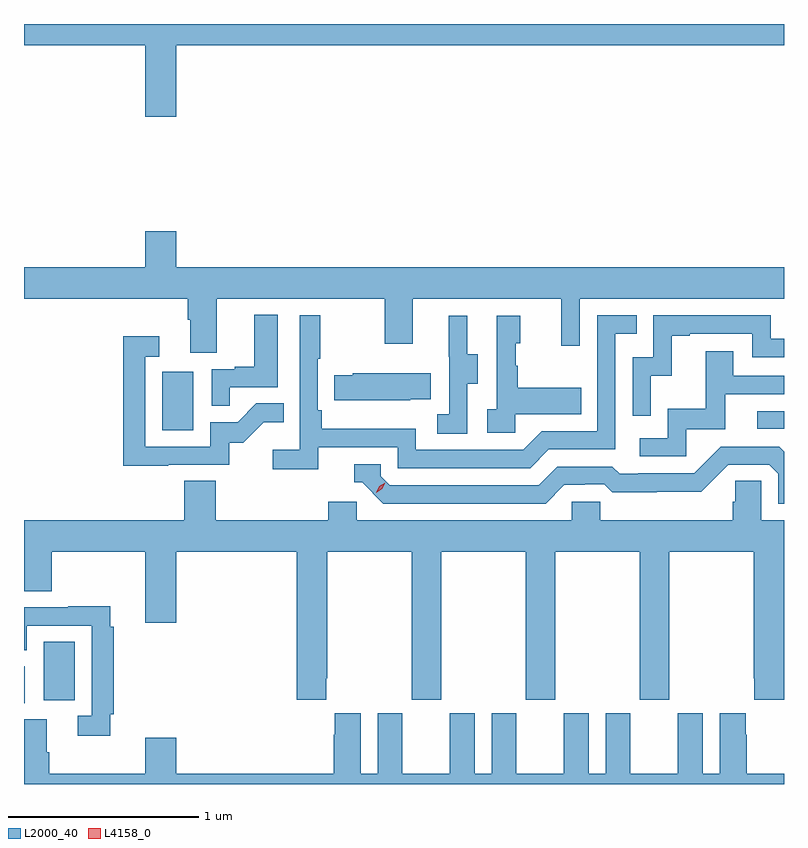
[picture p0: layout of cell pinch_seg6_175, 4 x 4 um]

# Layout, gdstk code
import gdstk
lib = gdstk.Library(unit=1e-6, precision=1e-09)
def R(c, l, rs):  # rectangles x0, y0, x1, y1
    for r in rs: c.add(gdstk.rectangle(r[:2], r[2:], *l))
def P(c, l, *ps):  # polygons
    for p in ps: c.add(gdstk.Polygon(p, *l))
L2000_40 = (2000, 40)
L4158_0 = (4158, 0)

pinch_seg6_175 = lib.new_cell('pinch_seg6_175')
R(pinch_seg6_175, L2000_40, [(1063.471,931.887,1063.476,932.081), (1063.574,931.902,1063.738,932.209), (1064.198,933.324,1064.362,933.631), (1067.331,933.33,1067.471,933.423)])
P(pinch_seg6_175, L2000_40, [(1064.272,935.348),(1067.471,935.348),(1067.471,935.461),(1063.471,935.461),(1063.471,935.348),(1064.108,935.348),(1064.108,934.974),(1064.272,934.974)],
  [(1064.485,934.016),(1065.37,934.016),(1065.37,933.777),(1065.517,933.777),(1065.517,934.016),(1066.298,934.016),(1066.298,933.768),(1066.395,933.768),(1066.395,934.016),(1067.471,934.016),(1067.471,934.18),(1064.272,934.18),(1064.272,934.369),(1064.108,934.369),(1064.108,934.18),(1063.471,934.18),(1063.471,934.016),(1064.333,934.016),(1064.333,933.904),(1064.345,933.904),(1064.345,933.73),(1064.485,933.73)],
  [(1064.555,933.549),(1064.806,933.549),(1064.806,933.931),(1064.684,933.931),(1064.684,933.658),(1064.581,933.658),(1064.581,933.645),(1064.46,933.645),(1064.46,933.451),(1064.555,933.451)],
  [(1065.02,933.234),(1065.438,933.234),(1065.438,933.123),(1066.135,933.123),(1066.234,933.222),(1066.584,933.222),(1066.584,933.831),(1066.697,933.831),(1066.697,933.927),(1066.488,933.927),(1066.488,933.318),(1066.197,933.318),(1066.098,933.219),(1065.534,933.219),(1065.534,933.331),(1065.038,933.331),(1065.038,933.427),(1065.018,933.427),(1065.018,933.7),(1065.031,933.7),(1065.031,933.928),(1064.922,933.928),(1064.922,933.22),(1064.781,933.22),(1064.781,933.118),(1065.02,933.118)],
  [(1066.77,933.611),(1066.88,933.611),(1066.88,933.819),(1066.975,933.819),(1066.975,933.831),(1067.304,933.831),(1067.304,933.708),(1067.471,933.708),(1067.471,933.804),(1067.4,933.804),(1067.4,933.927),(1066.782,933.927),(1066.782,933.708),(1066.674,933.708),(1066.674,933.399),(1066.77,933.399)],
  [(1066.056,933.407),(1066.403,933.407),(1066.403,933.547),(1066.069,933.547),(1066.069,933.662),(1066.059,933.662),(1066.059,933.78),(1066.084,933.78),(1066.084,933.925),(1065.96,933.925),(1065.96,933.434),(1065.909,933.434),(1065.909,933.309),(1066.056,933.309)],
  [(1065.804,933.568),(1065.859,933.568),(1065.859,933.723),(1065.805,933.723),(1065.805,933.925),(1065.707,933.925),(1065.707,933.711),(1065.708,933.711),(1065.708,933.407),(1065.645,933.407),(1065.645,933.304),(1065.804,933.304)],
  [(1064.231,933.141),(1064.55,933.141),(1064.55,933.258),(1064.626,933.258),(1064.733,933.365),(1064.837,933.365),(1064.837,933.464),(1064.694,933.464),(1064.596,933.366),(1064.451,933.366),(1064.451,933.237),(1064.109,933.237),(1064.109,933.711),(1064.182,933.711),(1064.182,933.817),(1063.993,933.817),(1063.993,933.136),(1064.231,933.136)],
  [(1066.956,933.327),(1067.161,933.327),(1067.161,933.513),(1067.471,933.513),(1067.471,933.609),(1067.203,933.609),(1067.203,933.739),(1067.059,933.739),(1067.059,933.436),(1066.86,933.436),(1066.86,933.282),(1066.713,933.282),(1066.713,933.186),(1066.956,933.186)],
  [(1065.503,933.485),(1065.611,933.485),(1065.611,933.622),(1065.201,933.622),(1065.201,933.612),(1065.103,933.612),(1065.103,933.482),(1065.503,933.482)],
  [(1066.315,933.036),(1066.422,933.036),(1066.422,933.039),(1066.525,933.039),(1066.567,932.997),(1066.8,932.997),(1066.8,932.999),(1067.036,932.999),(1067.178,933.141),(1067.394,933.141),(1067.442,933.093),(1067.442,932.937),(1067.471,932.937),(1067.471,933.211),(1067.445,933.237),(1067.139,933.237),(1066.998,933.096),(1066.705,933.096),(1066.705,933.093),(1066.606,933.093),(1066.567,933.132),(1066.278,933.132),(1066.179,933.033),(1065.396,933.033),(1065.348,933.081),(1065.348,933.144),(1065.209,933.144),(1065.209,933.048),(1065.252,933.048),(1065.363,932.937),(1066.216,932.937)],
  [(1065.061,932.017),(1065.066,932.017),(1065.066,932.684),(1065.511,932.684),(1065.511,931.905),(1065.666,931.905),(1065.666,932.684),(1066.111,932.684),(1066.111,931.905),(1066.266,931.905),(1066.266,932.684),(1066.711,932.684),(1066.711,931.905),(1066.866,931.905),(1066.866,932.684),(1067.311,932.684),(1067.311,932.017),(1067.315,932.017),(1067.315,931.905),(1067.471,931.905),(1067.471,932.848),(1067.352,932.848),(1067.352,933.056),(1067.215,933.056),(1067.215,932.946),(1067.201,932.946),(1067.201,932.848),(1066.503,932.848),(1066.503,932.946),(1066.353,932.946),(1066.353,932.848),(1065.222,932.848),(1065.222,932.946),(1065.071,932.946),(1065.071,932.848),(1064.48,932.848),(1064.48,933.056),(1064.315,933.056),(1064.315,932.848),(1063.471,932.848),(1063.471,932.476),(1063.617,932.476),(1063.617,932.684),(1064.108,932.684),(1064.108,932.31),(1064.272,932.31),(1064.272,932.684),(1064.906,932.684),(1064.906,931.905),(1065.061,931.905)],
  [(1063.925,931.828),(1063.943,931.828),(1063.943,932.288),(1063.925,932.288),(1063.925,932.396),(1063.705,932.396),(1063.705,932.391),(1063.471,932.391),(1063.471,932.166),(1063.485,932.166),(1063.485,932.295),(1063.827,932.295),(1063.827,931.821),(1063.755,931.821),(1063.755,931.716),(1063.925,931.716)],
  [(1067.471,931.516),(1067.276,931.516),(1067.276,931.721),(1067.269,931.721),(1067.269,931.834),(1067.132,931.834),(1067.132,931.516),(1067.044,931.516),(1067.044,931.834),(1066.913,931.834),(1066.913,931.516),(1066.663,931.516),(1066.663,931.834),(1066.532,931.834),(1066.532,931.516),(1066.444,931.516),(1066.444,931.834),(1066.313,931.834),(1066.313,931.516),(1066.063,931.516),(1066.063,931.834),(1065.932,931.834),(1065.932,931.516),(1065.844,931.516),(1065.844,931.834),(1065.713,931.834),(1065.713,931.516),(1065.463,931.516),(1065.463,931.834),(1065.332,931.834),(1065.332,931.516),(1065.244,931.516),(1065.244,931.834),(1065.107,931.834),(1065.107,931.721),(1065.101,931.721),(1065.101,931.516),(1064.272,931.516),(1064.272,931.705),(1064.108,931.705),(1064.108,931.516),(1063.604,931.516),(1063.604,931.628),(1063.591,931.628),(1063.591,931.802),(1063.471,931.802),(1063.471,931.461),(1067.471,931.461)])
P(pinch_seg6_175, L4158_0, [(1065.324,932.995),(1065.324,932.995),(1065.341,933.028),(1065.372,933.047),(1065.372,933.047),(1065.372,933.047),(1065.356,933.014),(1065.324,932.995)])

lib.write_gds('pinch_seg6_175.gds')
